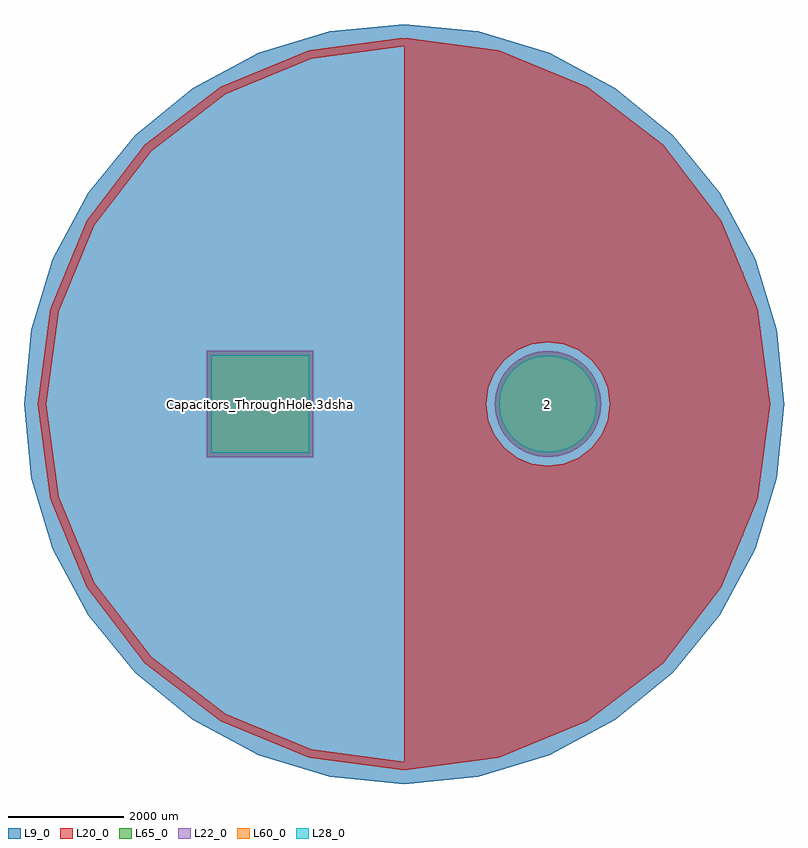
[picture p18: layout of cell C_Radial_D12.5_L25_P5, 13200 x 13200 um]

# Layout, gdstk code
import gdstk
lib = gdstk.Library(unit=1e-6, precision=1e-09)
def R(c, l, rs):  # rectangles x0, y0, x1, y1
    for r in rs: c.add(gdstk.rectangle(r[:2], r[2:], *l))
def P(c, l, *ps):  # polygons
    for p in ps: c.add(gdstk.Polygon(p, *l))
L9_0 = (9, 0)
L20_0 = (20, 0)
L22_0 = (22, 0)
L28_0 = (28, 0)
L60_0 = (60, 0)
L65_0 = (65, 0)

c_radial_d12_5_l25_p5 = lib.new_cell('C_Radial_D12.5_L25_P5')
P(c_radial_d12_5_l25_p5, L9_0, [(9100,0),(8973.183,1287.596),(8597.605,2525.711),(7987.699,3666.764),(7166.905,4666.905),(6166.764,5487.699),(5025.711,6097.605),(3787.596,6473.183),(2500,6600),(1212.404,6473.183),(-25.711,6097.605),(-1166.764,5487.699),(-2166.905,4666.905),(-2987.699,3666.764),(-3597.605,2525.711),(-3973.183,1287.596),(-4100,0),(-3973.183,-1287.596),(-3597.605,-2525.711),(-2987.699,-3666.764),(-2166.905,-4666.905),(-1166.764,-5487.699),(-25.711,-6097.605),(1212.404,-6473.183),(2500,-6600),(3787.596,-6473.183),(5025.711,-6097.605),(6166.764,-5487.699),(7166.905,-4666.905),(7987.699,-3666.764),(8597.605,-2525.711),(8973.183,-1287.596)])
R(c_radial_d12_5_l25_p5, L22_0, [(-925,-925,925,925)])
P(c_radial_d12_5_l25_p5, L22_0, [(5925,0),(5907.226,180.459),(5854.589,353.982),(5769.109,513.902),(5654.074,654.074),(5513.902,769.109),(5353.982,854.589),(5180.459,907.226),(5000,925),(4819.541,907.226),(4646.018,854.589),(4486.098,769.109),(4345.926,654.074),(4230.891,513.902),(4145.411,353.982),(4092.774,180.459),(4075,0),(4092.774,-180.459),(4145.411,-353.982),(4230.891,-513.902),(4345.926,-654.074),(4486.098,-769.109),(4646.018,-854.589),(4819.541,-907.226),(5000,-925),(5180.459,-907.226),(5353.982,-854.589),(5513.902,-769.109),(5654.074,-654.074),(5769.109,-513.902),(5854.589,-353.982),(5907.226,-180.459)])
R(c_radial_d12_5_l25_p5, L28_0, [(-850,-850,850,850)])
P(c_radial_d12_5_l25_p5, L28_0, [(5850,0),(5833.667,165.827),(5785.298,325.281),(5706.749,472.235),(5601.041,601.041),(5472.235,706.749),(5325.281,785.298),(5165.827,833.667),(5000,850),(4834.173,833.667),(4674.719,785.298),(4527.765,706.749),(4398.959,601.041),(4293.251,472.235),(4214.702,325.281),(4166.333,165.827),(4150,0),(4166.333,-165.827),(4214.702,-325.281),(4293.251,-472.235),(4398.959,-601.041),(4527.765,-706.749),(4674.719,-785.298),(4834.173,-833.667),(5000,-850),(5165.827,-833.667),(5325.281,-785.298),(5472.235,-706.749),(5601.041,-601.041),(5706.749,-472.235),(5785.298,-325.281),(5833.667,-165.827)])
R(c_radial_d12_5_l25_p5, L60_0, [(-850,-850,850,850)])
P(c_radial_d12_5_l25_p5, L60_0, [(5850,0),(5833.667,165.827),(5785.298,325.281),(5706.749,472.235),(5601.041,601.041),(5472.235,706.749),(5325.281,785.298),(5165.827,833.667),(5000,850),(4834.173,833.667),(4674.719,785.298),(4527.765,706.749),(4398.959,601.041),(4293.251,472.235),(4214.702,325.281),(4166.333,165.827),(4150,0),(4166.333,-165.827),(4214.702,-325.281),(4293.251,-472.235),(4398.959,-601.041),(4527.765,-706.749),(4674.719,-785.298),(4834.173,-833.667),(5000,-850),(5165.827,-833.667),(5325.281,-785.298),(5472.235,-706.749),(5601.041,-601.041),(5706.749,-472.235),(5785.298,-325.281),(5833.667,-165.827)])
R(c_radial_d12_5_l25_p5, L65_0, [(-925,-925,925,925)])
P(c_radial_d12_5_l25_p5, L65_0, [(5925,0),(5907.226,180.459),(5854.589,353.982),(5769.109,513.902),(5654.074,654.074),(5513.902,769.109),(5353.982,854.589),(5180.459,907.226),(5000,925),(4819.541,907.226),(4646.018,854.589),(4486.098,769.109),(4345.926,654.074),(4230.891,513.902),(4145.411,353.982),(4092.774,180.459),(4075,0),(4092.774,-180.459),(4145.411,-353.982),(4230.891,-513.902),(4345.926,-654.074),(4486.098,-769.109),(4646.018,-854.589),(4819.541,-907.226),(5000,-925),(5180.459,-907.226),(5353.982,-854.589),(5513.902,-769.109),(5654.074,-654.074),(5769.109,-513.902),(5854.589,-353.982),(5907.226,-180.459)])
c_radial_d12_5_l25_p5.add(gdstk.FlexPath([(2500,6287.5),(872.675,6073.259),(-643.75,5445.135),(-1945.934,4445.934),(-2945.135,3143.75),(-3573.259,1627.325),(-3787.5,0),(-3573.259,-1627.325),(-2945.135,-3143.75),(-1945.934,-4445.934),(-643.75,-5445.135),(872.675,-6073.259),(2500,-6287.5),(4127.325,-6073.259),(5643.75,-5445.135),(6945.934,-4445.934),(7945.135,-3143.75),(8573.259,-1627.325),(8787.5,0),(8573.259,1627.325),(7945.135,3143.75),(6945.934,4445.934),(5643.75,5445.135),(4127.325,6073.259),(2500,6287.5)], 149.998, ends="flush", simple_path=True, layer=20, datatype=0))  # L20_0
c_radial_d12_5_l25_p5.add(gdstk.FlexPath([(5000,1150),(4702.358,1110.815),(4425,995.929),(4186.827,813.173),(4004.071,575),(3889.185,297.642),(3850,0),(3889.185,-297.642),(4004.071,-575),(4186.827,-813.173),(4425,-995.929),(4702.358,-1110.815),(5000,-1150),(5297.642,-1110.815),(5575,-995.929),(5813.173,-813.173),(5995.929,-575),(6110.815,-297.642),(6150,0),(6110.815,297.642),(5995.929,575),(5813.173,813.173),(5575,995.929),(5297.642,1110.815),(5000,1150)], 149.998, ends="flush", simple_path=True, layer=20, datatype=0))  # L20_0
c_radial_d12_5_l25_p5.add(gdstk.FlexPath([(8735,433),(8735,-433)], 149.998, ends="flush", simple_path=True, layer=20, datatype=0))  # L20_0
c_radial_d12_5_l25_p5.add(gdstk.FlexPath([(8595,1383),(8595,-1383)], 149.998, ends="flush", simple_path=True, layer=20, datatype=0))  # L20_0
c_radial_d12_5_l25_p5.add(gdstk.FlexPath([(8455,1897),(8455,-1897)], 149.998, ends="flush", simple_path=True, layer=20, datatype=0))  # L20_0
c_radial_d12_5_l25_p5.add(gdstk.FlexPath([(8315,2291),(8315,-2291)], 149.998, ends="flush", simple_path=True, layer=20, datatype=0))  # L20_0
c_radial_d12_5_l25_p5.add(gdstk.FlexPath([(8175,2619),(8175,-2619)], 149.998, ends="flush", simple_path=True, layer=20, datatype=0))  # L20_0
c_radial_d12_5_l25_p5.add(gdstk.FlexPath([(8035,2903),(8035,-2903)], 149.998, ends="flush", simple_path=True, layer=20, datatype=0))  # L20_0
c_radial_d12_5_l25_p5.add(gdstk.FlexPath([(7895,3155),(7895,-3155)], 149.998, ends="flush", simple_path=True, layer=20, datatype=0))  # L20_0
c_radial_d12_5_l25_p5.add(gdstk.FlexPath([(7755,3383),(7755,-3383)], 149.998, ends="flush", simple_path=True, layer=20, datatype=0))  # L20_0
c_radial_d12_5_l25_p5.add(gdstk.FlexPath([(7615,3592),(7615,-3592)], 149.998, ends="flush", simple_path=True, layer=20, datatype=0))  # L20_0
c_radial_d12_5_l25_p5.add(gdstk.FlexPath([(7475,3783),(7475,-3783)], 149.998, ends="flush", simple_path=True, layer=20, datatype=0))  # L20_0
c_radial_d12_5_l25_p5.add(gdstk.FlexPath([(7335,3960),(7335,-3960)], 149.998, ends="flush", simple_path=True, layer=20, datatype=0))  # L20_0
c_radial_d12_5_l25_p5.add(gdstk.FlexPath([(7195,4125),(7195,-4125)], 149.998, ends="flush", simple_path=True, layer=20, datatype=0))  # L20_0
c_radial_d12_5_l25_p5.add(gdstk.FlexPath([(7055,4280),(7055,-4280)], 149.998, ends="flush", simple_path=True, layer=20, datatype=0))  # L20_0
c_radial_d12_5_l25_p5.add(gdstk.FlexPath([(6915,4424),(6915,-4424)], 149.998, ends="flush", simple_path=True, layer=20, datatype=0))  # L20_0
c_radial_d12_5_l25_p5.add(gdstk.FlexPath([(6775,4559),(6775,-4559)], 149.998, ends="flush", simple_path=True, layer=20, datatype=0))  # L20_0
c_radial_d12_5_l25_p5.add(gdstk.FlexPath([(6635,4687),(6635,-4687)], 149.998, ends="flush", simple_path=True, layer=20, datatype=0))  # L20_0
c_radial_d12_5_l25_p5.add(gdstk.FlexPath([(6495,4807),(6495,-4807)], 149.998, ends="flush", simple_path=True, layer=20, datatype=0))  # L20_0
c_radial_d12_5_l25_p5.add(gdstk.FlexPath([(6355,4919),(6355,-4919)], 149.998, ends="flush", simple_path=True, layer=20, datatype=0))  # L20_0
c_radial_d12_5_l25_p5.add(gdstk.FlexPath([(6215,5026),(6215,-5026)], 149.998, ends="flush", simple_path=True, layer=20, datatype=0))  # L20_0
c_radial_d12_5_l25_p5.add(gdstk.FlexPath([(6075,-409),(6075,-5127)], 149.998, ends="flush", simple_path=True, layer=20, datatype=0))  # L20_0
c_radial_d12_5_l25_p5.add(gdstk.FlexPath([(6075,5127),(6075,409)], 149.998, ends="flush", simple_path=True, layer=20, datatype=0))  # L20_0
c_radial_d12_5_l25_p5.add(gdstk.FlexPath([(5935,-670),(5935,-5221)], 149.998, ends="flush", simple_path=True, layer=20, datatype=0))  # L20_0
c_radial_d12_5_l25_p5.add(gdstk.FlexPath([(5935,5221),(5935,670)], 149.998, ends="flush", simple_path=True, layer=20, datatype=0))  # L20_0
c_radial_d12_5_l25_p5.add(gdstk.FlexPath([(5795,-831),(5795,-5311)], 149.998, ends="flush", simple_path=True, layer=20, datatype=0))  # L20_0
c_radial_d12_5_l25_p5.add(gdstk.FlexPath([(5795,5311),(5795,831)], 149.998, ends="flush", simple_path=True, layer=20, datatype=0))  # L20_0
c_radial_d12_5_l25_p5.add(gdstk.FlexPath([(5655,-945),(5655,-5395)], 149.998, ends="flush", simple_path=True, layer=20, datatype=0))  # L20_0
c_radial_d12_5_l25_p5.add(gdstk.FlexPath([(5655,5395),(5655,945)], 149.998, ends="flush", simple_path=True, layer=20, datatype=0))  # L20_0
c_radial_d12_5_l25_p5.add(gdstk.FlexPath([(5515,-1028),(5515,-5475)], 149.998, ends="flush", simple_path=True, layer=20, datatype=0))  # L20_0
c_radial_d12_5_l25_p5.add(gdstk.FlexPath([(5515,5475),(5515,1028)], 149.998, ends="flush", simple_path=True, layer=20, datatype=0))  # L20_0
c_radial_d12_5_l25_p5.add(gdstk.FlexPath([(5375,-1087),(5375,-5549)], 149.998, ends="flush", simple_path=True, layer=20, datatype=0))  # L20_0
c_radial_d12_5_l25_p5.add(gdstk.FlexPath([(5375,5549),(5375,1087)], 149.998, ends="flush", simple_path=True, layer=20, datatype=0))  # L20_0
c_radial_d12_5_l25_p5.add(gdstk.FlexPath([(5235,-1126),(5235,-5620)], 149.998, ends="flush", simple_path=True, layer=20, datatype=0))  # L20_0
c_radial_d12_5_l25_p5.add(gdstk.FlexPath([(5235,5620),(5235,1126)], 149.998, ends="flush", simple_path=True, layer=20, datatype=0))  # L20_0
c_radial_d12_5_l25_p5.add(gdstk.FlexPath([(5095,-1146),(5095,-5686)], 149.998, ends="flush", simple_path=True, layer=20, datatype=0))  # L20_0
c_radial_d12_5_l25_p5.add(gdstk.FlexPath([(5095,5686),(5095,1146)], 149.998, ends="flush", simple_path=True, layer=20, datatype=0))  # L20_0
c_radial_d12_5_l25_p5.add(gdstk.FlexPath([(4955,-1149),(4955,-5748)], 149.998, ends="flush", simple_path=True, layer=20, datatype=0))  # L20_0
c_radial_d12_5_l25_p5.add(gdstk.FlexPath([(4955,5748),(4955,1149)], 149.998, ends="flush", simple_path=True, layer=20, datatype=0))  # L20_0
c_radial_d12_5_l25_p5.add(gdstk.FlexPath([(4815,-1135),(4815,-5805)], 149.998, ends="flush", simple_path=True, layer=20, datatype=0))  # L20_0
c_radial_d12_5_l25_p5.add(gdstk.FlexPath([(4815,5805),(4815,1135)], 149.998, ends="flush", simple_path=True, layer=20, datatype=0))  # L20_0
c_radial_d12_5_l25_p5.add(gdstk.FlexPath([(4675,-1103),(4675,-5859)], 149.998, ends="flush", simple_path=True, layer=20, datatype=0))  # L20_0
c_radial_d12_5_l25_p5.add(gdstk.FlexPath([(4675,5859),(4675,1103)], 149.998, ends="flush", simple_path=True, layer=20, datatype=0))  # L20_0
c_radial_d12_5_l25_p5.add(gdstk.FlexPath([(4535,-1052),(4535,-5909)], 149.998, ends="flush", simple_path=True, layer=20, datatype=0))  # L20_0
c_radial_d12_5_l25_p5.add(gdstk.FlexPath([(4535,5909),(4535,1052)], 149.998, ends="flush", simple_path=True, layer=20, datatype=0))  # L20_0
c_radial_d12_5_l25_p5.add(gdstk.FlexPath([(4395,-978),(4395,-5956)], 149.998, ends="flush", simple_path=True, layer=20, datatype=0))  # L20_0
c_radial_d12_5_l25_p5.add(gdstk.FlexPath([(4395,5956),(4395,978)], 149.998, ends="flush", simple_path=True, layer=20, datatype=0))  # L20_0
c_radial_d12_5_l25_p5.add(gdstk.FlexPath([(4255,-876),(4255,-5999)], 149.998, ends="flush", simple_path=True, layer=20, datatype=0))  # L20_0
c_radial_d12_5_l25_p5.add(gdstk.FlexPath([(4255,5999),(4255,876)], 149.998, ends="flush", simple_path=True, layer=20, datatype=0))  # L20_0
c_radial_d12_5_l25_p5.add(gdstk.FlexPath([(4115,-734),(4115,-6038)], 149.998, ends="flush", simple_path=True, layer=20, datatype=0))  # L20_0
c_radial_d12_5_l25_p5.add(gdstk.FlexPath([(4115,6038),(4115,734)], 149.998, ends="flush", simple_path=True, layer=20, datatype=0))  # L20_0
c_radial_d12_5_l25_p5.add(gdstk.FlexPath([(3975,-521),(3975,-6073)], 149.998, ends="flush", simple_path=True, layer=20, datatype=0))  # L20_0
c_radial_d12_5_l25_p5.add(gdstk.FlexPath([(3975,6073),(3975,521)], 149.998, ends="flush", simple_path=True, layer=20, datatype=0))  # L20_0
c_radial_d12_5_l25_p5.add(gdstk.FlexPath([(3835,6106),(3835,-6106)], 149.998, ends="flush", simple_path=True, layer=20, datatype=0))  # L20_0
c_radial_d12_5_l25_p5.add(gdstk.FlexPath([(3695,6135),(3695,-6135)], 149.998, ends="flush", simple_path=True, layer=20, datatype=0))  # L20_0
c_radial_d12_5_l25_p5.add(gdstk.FlexPath([(3555,6160),(3555,-6160)], 149.998, ends="flush", simple_path=True, layer=20, datatype=0))  # L20_0
c_radial_d12_5_l25_p5.add(gdstk.FlexPath([(3415,6183),(3415,-6183)], 149.998, ends="flush", simple_path=True, layer=20, datatype=0))  # L20_0
c_radial_d12_5_l25_p5.add(gdstk.FlexPath([(3275,6202),(3275,-6202)], 149.998, ends="flush", simple_path=True, layer=20, datatype=0))  # L20_0
c_radial_d12_5_l25_p5.add(gdstk.FlexPath([(3135,6218),(3135,-6218)], 149.998, ends="flush", simple_path=True, layer=20, datatype=0))  # L20_0
c_radial_d12_5_l25_p5.add(gdstk.FlexPath([(2995,6230),(2995,-6230)], 149.998, ends="flush", simple_path=True, layer=20, datatype=0))  # L20_0
c_radial_d12_5_l25_p5.add(gdstk.FlexPath([(2855,6240),(2855,-6240)], 149.998, ends="flush", simple_path=True, layer=20, datatype=0))  # L20_0
c_radial_d12_5_l25_p5.add(gdstk.FlexPath([(2715,6246),(2715,-6246)], 149.998, ends="flush", simple_path=True, layer=20, datatype=0))  # L20_0
c_radial_d12_5_l25_p5.add(gdstk.FlexPath([(2575,6250),(2575,-6250)], 149.998, ends="flush", simple_path=True, layer=20, datatype=0))  # L20_0
c_radial_d12_5_l25_p5.add(gdstk.Label('Capacitors_ThroughHole.3dshapes/C_Radial_D12.5_L25_P5.wrl', (0,0), layer=12, texttype=0))
c_radial_d12_5_l25_p5.add(gdstk.Label('1', (0,0), layer=28, texttype=0))
c_radial_d12_5_l25_p5.add(gdstk.Label('2', (5000,0), layer=28, texttype=0))
c_radial_d12_5_l25_p5.add(gdstk.Label('type', (2500,-7600), layer=9, texttype=0))
c_radial_d12_5_l25_p5.add(gdstk.Label('devicename', (2500,7600), layer=9, texttype=0))

lib.write_gds('C_Radial_D12.5_L25_P5.gds')
